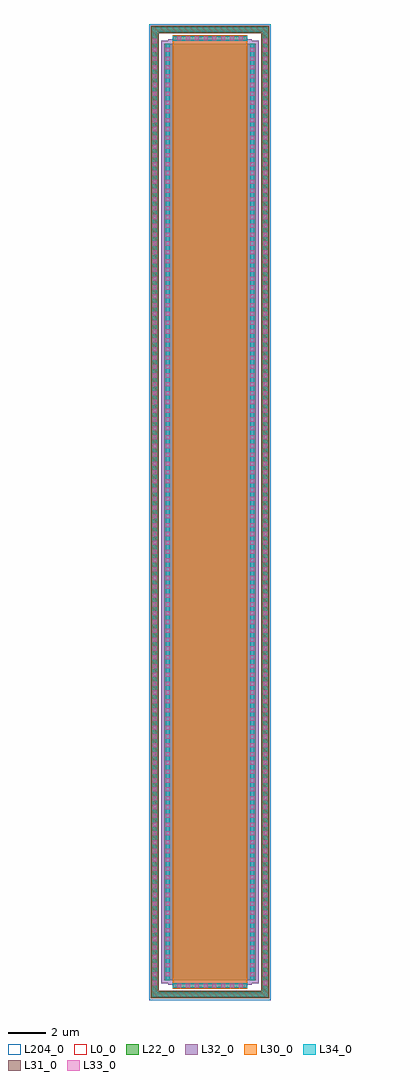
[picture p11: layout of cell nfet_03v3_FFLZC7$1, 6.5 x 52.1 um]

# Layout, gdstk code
import gdstk
lib = gdstk.Library(unit=1e-6, precision=1e-09)
def R(c, l, rs):  # rectangles x0, y0, x1, y1
    for r in rs: c.add(gdstk.rectangle(r[:2], r[2:], *l))
def A(c, l, x, y, w, h, nx, ny, dx, dy):  # array of equal rectangles
    R(c, l, [(x+i*dx, y+j*dy, x+i*dx+w, y+j*dy+h) for i in range(nx) for j in range(ny)])
L0_0 = (0, 0)
L22_0 = (22, 0)
L30_0 = (30, 0)
L31_0 = (31, 0)
L32_0 = (32, 0)
L33_0 = (33, 0)
L34_0 = (34, 0)
L204_0 = (204, 0)

nfet_03v3_fflzc7_1 = lib.new_cell('nfet_03v3_FFLZC7$1')
R(nfet_03v3_fflzc7_1, L0_0, [(-2.95,-25.75,2.95,25.75)])
R(nfet_03v3_fflzc7_1, L22_0, [(-3.13,-25.93,3.13,-25.57), (-3.13,-25.57,-2.77,25.57), (2.77,-25.57,3.13,25.57), (-2.44,-25,2.44,25), (-3.13,25.57,3.13,25.93)])
R(nfet_03v3_fflzc7_1, L30_0, [(-2,-25.46,2,25.46)])
R(nfet_03v3_fflzc7_1, L31_0, [(-3.15,-25.95,3.15,-25.55), (-3.15,-25.55,-2.74,-25.445), (2.74,-25.55,3.15,-25.445), (-3.16,-25.445,-2.74,25.445), (2.74,-25.445,3.16,25.445), (-3.15,25.445,-2.74,25.55), (2.74,25.445,3.15,25.55), (-3.15,25.55,3.15,25.95)])
R(nfet_03v3_fflzc7_1, L32_0, [(-2.23,-25.23,2.23,-25.16), (-2.6,-25.16,2.6,25.16), (-2.23,25.16,2.23,25.23)])
A(nfet_03v3_fflzc7_1, L33_0, -1.755, -25.39, 0.22, 0.22, 8, 2, 0.47, 50.56)
A(nfet_03v3_fflzc7_1, L33_0, -3.06, -25.255, 0.22, 0.22, 1, 108, 0, 0.47)
A(nfet_03v3_fflzc7_1, L33_0, 2.84, -25.255, 0.22, 0.22, 1, 108, 0, 0.47)
A(nfet_03v3_fflzc7_1, L33_0, -2.37, -24.785, 0.22, 0.22, 1, 106, 0, 0.47)
A(nfet_03v3_fflzc7_1, L33_0, 2.15, -24.785, 0.22, 0.22, 1, 106, 0, 0.47)
R(nfet_03v3_fflzc7_1, L34_0, [(-3.065,-25.865,3.065,-25.635), (-3.065,-25.635,-2.835,25.635), (2.835,-25.635,3.065,25.635), (-1.99,-25.395,1.99,-25.165), (-2.375,-24.99,-2.145,24.99), (2.145,-24.99,2.375,24.99), (-1.99,25.165,1.99,25.395), (-3.065,25.635,3.065,25.865)])
R(nfet_03v3_fflzc7_1, L204_0, [(-3.25,-26.05,3.25,26.05)])

lib.write_gds('nfet_03v3_FFLZC7_1.gds')
